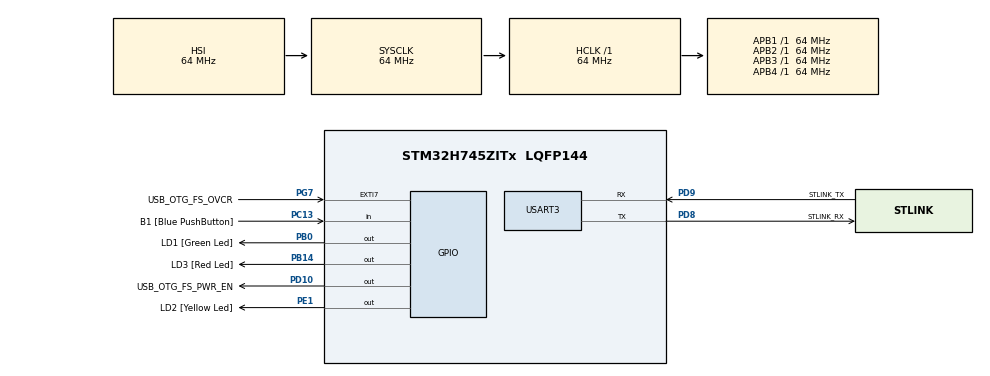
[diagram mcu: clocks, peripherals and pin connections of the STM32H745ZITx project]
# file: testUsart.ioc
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CortexM4.IPs=FATFS_M4\:I,FREERTOS_M4\:I,IWDG2\:I,RCC,WWDG2\:I,DMA,BDMA,MDMA,NVIC2\:I,ETH,DEBUG,PDM2PCM_M4\:I,PWR,RESMGR_UTILITY,SYS_M4\:I,USB_DEVICE_M4\:I,USB_HOST_M4\:I,CORTEX_M4\:I,OPENAMP_M4\:I,VREFBUF
CortexM7.IPs=FATFS_M7\:I,FREERTOS_M7\:I,IWDG1\:I,RCC\:I,WWDG1\:I,DMA\:I,BDMA\:I,MDMA\:I,NVIC1\:I,SYS\:I,USART3\:I,USB_OTG_FS\:I,ETH\:I,CORTEX_M7\:I,DEBUG\:I,PDM2PCM_M7\:I,PWR\:I,RESMGR_UTILITY\:I,USB_DEVICE_M7\:I,USB_HOST_M7\:I,OPENAMP_M7\:I,VREFBUF\:I
Mcu.Family=STM32H7
Mcu.Name=STM32H745ZITx
Mcu.Package=LQFP144
NVIC1.PriorityGroup=NVIC_PRIORITYGROUP_4
NVIC2.PriorityGroup=NVIC_PRIORITYGROUP_4
PA1.PinAttribute=CortexM7
PA1.Signal=ETH_REF_CLK
PA11.PinAttribute=CortexM7
PA11.Signal=USB_OTG_FS_DM
PA12.PinAttribute=CortexM7
PA12.Signal=USB_OTG_FS_DP
PA2.PinAttribute=CortexM7
PA2.Signal=ETH_MDIO
PA7.PinAttribute=CortexM7
PA7.Signal=ETH_CRS_DV
PA8.PinAttribute=CortexM7
PA8.Signal=USB_OTG_FS_SOF
PA9.PinAttribute=CortexM7
PA9.Signal=USB_OTG_FS_VBUS
PB0.GPIO_Label=LD1 [Green Led]
PB0.PinAttribute=Free
PB0.Signal=GPIO_Output
PB13.PinAttribute=CortexM7
PB13.Signal=ETH_TXD1
PB14.GPIO_Label=LD3 [Red Led]
PB14.PinAttribute=Free
PB14.Signal=GPIO_Output
PC1.PinAttribute=CortexM7
PC1.Signal=ETH_MDC
PC13.GPIO_Label=B1 [Blue PushButton]
PC13.PinAttribute=Free
PC13.Signal=GPIO_Input
PC14-OSC32_IN\ (OSC32_IN).PinAttribute=CortexM7
PC14-OSC32_IN\ (OSC32_IN).Signal=RCC_OSC32_IN
PC15-OSC32_OUT\ (OSC32_OUT).PinAttribute=CortexM7
PC15-OSC32_OUT\ (OSC32_OUT).Signal=RCC_OSC32_OUT
PC4.PinAttribute=CortexM7
PC4.Signal=ETH_RXD0
PC5.PinAttribute=CortexM7
PC5.Signal=ETH_RXD1
PD10.GPIO_Label=USB_OTG_FS_PWR_EN
PD10.PinAttribute=Free
PD10.Signal=GPIO_Output
PD8.GPIO_Label=STLINK_RX
PD8.Mode=Asynchronous
PD8.PinAttribute=CortexM7
PD8.Signal=USART3_TX
PD9.GPIO_Label=STLINK_TX
PD9.Mode=Asynchronous
PD9.PinAttribute=CortexM7
PD9.Signal=USART3_RX
PE1.GPIO_Label=LD2 [Yellow Led]
PE1.PinAttribute=Free
PE1.Signal=GPIO_Output
PG11.PinAttribute=CortexM7
PG11.Signal=ETH_TX_EN
PG13.PinAttribute=CortexM7
PG13.Signal=ETH_TXD0
PG7.GPIO_Label=USB_OTG_FS_OVCR
PG7.PinAttribute=Free
PG7.Signal=GPXTI7
PH0-OSC_IN\ (PH0).PinAttribute=CortexM7
PH0-OSC_IN\ (PH0).Signal=RCC_OSC_IN
PH1-OSC_OUT\ (PH1).PinAttribute=CortexM7
PH1-OSC_OUT\ (PH1).Signal=RCC_OSC_OUT
ProjectManager.HeapSize=0x200
ProjectManager.StackSize=0x400
ProjectManager.TargetToolchain=STM32CubeIDE
RCC.ADCFreq_Value=129000000
RCC.APB1Freq_Value=64000000
RCC.APB2Freq_Value=64000000
RCC.APB3Freq_Value=64000000
RCC.APB4Freq_Value=64000000
RCC.CortexFreq_Value=64000000
RCC.DIVM1=18
RCC.DIVM3=22
RCC.DIVN3=169
RCC.DIVQ3=4
RCC.HCLKFreq_Value=64000000
RCC.PLL2FRACN=0
RCC.PLL3FRACN=0
RCC.PLLFRACN=0
RCC.SYSCLKFreq_VALUE=64000000
RCC.SupplySource=PWR_DIRECT_SMPS_SUPPLY
RCC.USBCLockSelection=RCC_USBCLKSOURCE_PLL3
RCC.USBFreq_Value=122909090.9090909
USART3.VirtualMode-Asynchronous=VM_ASYNC
VP_SYS_M4_VS_Systick.Mode=SysTick
board=NUCLEO-H745ZI-Q

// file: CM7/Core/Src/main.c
/* USER CODE BEGIN Header */
/**
 ******************************************************************************
 * @file           : main.c
 * @brief          : Main program body
 ******************************************************************************
 * @attention
 *
 * <h2><center>&copy; Copyright (c) 2021 STMicroelectronics.
 * All rights reserved.</center></h2>
 *
 * This software component is licensed by ST under BSD 3-Clause license,
 * the "License"; You may not use this file except in compliance with the
 * License. You may obtain a copy of the License at:
 *                        opensource.org/licenses/BSD-3-Clause
 *
 ******************************************************************************
 */
/* USER CODE END Header */
#include "main.h"

/* USER CODE BEGIN Includes */
#include <stdio.h>
/* USER CODE END Includes */

/* USER CODE BEGIN PD */

#ifndef HSEM_ID_0
#define HSEM_ID_0 (0U) /* HW semaphore 0*/
#endif
/* USER CODE END PD */

UART_HandleTypeDef huart3;

/* USER CODE BEGIN PV */
char snprintf_buf[128];
/* USER CODE END PV */

void SystemClock_Config(void);
static void MX_GPIO_Init(void);
static void MX_USART3_UART_Init(void);

int main(void)
{
    /* USER CODE BEGIN Boot_Mode_Sequence_0 */
    int32_t timeout;
    /* USER CODE END Boot_Mode_Sequence_0 */

    /* USER CODE BEGIN Boot_Mode_Sequence_1 */
    /* Wait until CPU2 boots and enters in stop mode or timeout*/
    timeout = 0xFFFF;
    while ((__HAL_RCC_GET_FLAG(RCC_FLAG_D2CKRDY) != RESET) && (timeout-- > 0))
        ;
    if (timeout < 0) {
        Error_Handler();
    }
    /* USER CODE END Boot_Mode_Sequence_1 */
    /* MCU Configuration--------------------------------------------------------*/

    /* Reset of all peripherals, Initializes the Flash interface and the Systick. */
    HAL_Init();

    /* Configure the system clock */
    SystemClock_Config();
    /* USER CODE BEGIN Boot_Mode_Sequence_2 */
    /* When system initialization is finished, Cortex-M7 will release Cortex-M4 by means of
    HSEM notification */
    /*HW semaphore Clock enable*/
    __HAL_RCC_HSEM_CLK_ENABLE();
    /*Take HSEM */
    HAL_HSEM_FastTake(HSEM_ID_0);
    /*Release HSEM in order to notify the CPU2(CM4)*/
    HAL_HSEM_Release(HSEM_ID_0, 0);
    /* wait until CPU2 wakes up from stop mode */
    timeout = 0xFFFF;
    while ((__HAL_RCC_GET_FLAG(RCC_FLAG_D2CKRDY) == RESET) && (timeout-- > 0))
        ;
    if (timeout < 0) {
        Error_Handler();
    }
    /* USER CODE END Boot_Mode_Sequence_2 */

    /* Initialize all configured peripherals */
    MX_GPIO_Init();
    MX_USART3_UART_Init();

    /* Infinite loop */
    /* USER CODE BEGIN WHILE */
    HAL_UART_Transmit(&huart3, (uint8_t *)"Hello World !\r\n", sizeof("Hello World !\r\n") - 1, HAL_MAX_DELAY);
    uint32_t expected_tick = HAL_GetTick() + 1000;
    uint32_t sec = 0;
    uint8_t rb;
    uint32_t nbytes;
    while (1) {
        /* USER CODE END WHILE */

        /* USER CODE BEGIN 3 */
        if (HAL_OK == HAL_UART_Receive(&huart3, &rb, 1, 100)) {
            expected_tick = HAL_GetTick() + 1000;
            sec = 0;
            /*nbytes = snprintf(snprintf_buf, sizeof(snprintf_buf), "TIME RESET %c !\r\n", rb);
             HAL_UART_Transmit(&huart3, (uint8_t*)snprintf_buf, nbytes, HAL_MAX_DELAY);*/
            HAL_UART_Transmit(&huart3, (uint8_t *)"TIME RESET\r\n", sizeof("TIME RESET\r\n") - 1, HAL_MAX_DELAY);
        }
        if (HAL_GetTick() > expected_tick) {
            sec++;
            nbytes = snprintf(snprintf_buf, sizeof(snprintf_buf), "This program runs since %lu seconds ago\r\n", sec);
            HAL_UART_Transmit(&huart3, (uint8_t *)snprintf_buf, nbytes, HAL_MAX_DELAY);
            expected_tick += 1000;
        }
    }
    /* USER CODE END 3 */
}

void SystemClock_Config(void)
{
    RCC_OscInitTypeDef RCC_OscInitStruct = {0};
    RCC_ClkInitTypeDef RCC_ClkInitStruct = {0};
    RCC_PeriphCLKInitTypeDef PeriphClkInitStruct = {0};

    /** Supply configuration update enable
     */
    HAL_PWREx_ConfigSupply(PWR_DIRECT_SMPS_SUPPLY);
    /** Configure the main internal regulator output voltage
     */
    __HAL_PWR_VOLTAGESCALING_CONFIG(PWR_REGULATOR_VOLTAGE_SCALE3);

    while (!__HAL_PWR_GET_FLAG(PWR_FLAG_VOSRDY)) {
    }
    /** Initializes the RCC Oscillators according to the specified parameters
     * in the RCC_OscInitTypeDef structure.
     */
    RCC_OscInitStruct.OscillatorType = RCC_OSCILLATORTYPE_HSI;
    RCC_OscInitStruct.HSIState = RCC_HSI_DIV1;
    RCC_OscInitStruct.HSICalibrationValue = RCC_HSICALIBRATION_DEFAULT;
    RCC_OscInitStruct.PLL.PLLState = RCC_PLL_NONE;
    if (HAL_RCC_OscConfig(&RCC_OscInitStruct) != HAL_OK) {
        Error_Handler();
    }
    /** Initializes the CPU, AHB and APB buses clocks
     */
    RCC_ClkInitStruct.ClockType = RCC_CLOCKTYPE_HCLK | RCC_CLOCKTYPE_SYSCLK | RCC_CLOCKTYPE_PCLK1 |
                                  RCC_CLOCKTYPE_PCLK2 | RCC_CLOCKTYPE_D3PCLK1 | RCC_CLOCKTYPE_D1PCLK1;
    RCC_ClkInitStruct.SYSCLKSource = RCC_SYSCLKSOURCE_HSI;
    RCC_ClkInitStruct.SYSCLKDivider = RCC_SYSCLK_DIV1;
    RCC_ClkInitStruct.AHBCLKDivider = RCC_HCLK_DIV1;
    RCC_ClkInitStruct.APB3CLKDivider = RCC_APB3_DIV1;
    RCC_ClkInitStruct.APB1CLKDivider = RCC_APB1_DIV1;
    RCC_ClkInitStruct.APB2CLKDivider = RCC_APB2_DIV1;
    RCC_ClkInitStruct.APB4CLKDivider = RCC_APB4_DIV1;

    if (HAL_RCC_ClockConfig(&RCC_ClkInitStruct, FLASH_LATENCY_0) != HAL_OK) {
        Error_Handler();
    }
    PeriphClkInitStruct.PeriphClockSelection = RCC_PERIPHCLK_USART3;
    PeriphClkInitStruct.Usart234578ClockSelection = RCC_USART234578CLKSOURCE_D2PCLK1;
    if (HAL_RCCEx_PeriphCLKConfig(&PeriphClkInitStruct) != HAL_OK) {
        Error_Handler();
    }
}

static void MX_USART3_UART_Init(void)
{

    huart3.Instance = USART3;
    huart3.Init.BaudRate = 115200;
    huart3.Init.WordLength = UART_WORDLENGTH_8B;
    huart3.Init.StopBits = UART_STOPBITS_1;
    huart3.Init.Parity = UART_PARITY_NONE;
    huart3.Init.Mode = UART_MODE_TX_RX;
    huart3.Init.HwFlowCtl = UART_HWCONTROL_NONE;
    huart3.Init.OverSampling = UART_OVERSAMPLING_16;
    huart3.Init.OneBitSampling = UART_ONE_BIT_SAMPLE_DISABLE;
    huart3.Init.ClockPrescaler = UART_PRESCALER_DIV1;
    huart3.AdvancedInit.AdvFeatureInit = UART_ADVFEATURE_NO_INIT;
    if (HAL_UART_Init(&huart3) != HAL_OK) {
        Error_Handler();
    }
    if (HAL_UARTEx_SetTxFifoThreshold(&huart3, UART_TXFIFO_THRESHOLD_1_8) != HAL_OK) {
        Error_Handler();
    }
    if (HAL_UARTEx_SetRxFifoThreshold(&huart3, UART_RXFIFO_THRESHOLD_1_8) != HAL_OK) {
        Error_Handler();
    }
    if (HAL_UARTEx_DisableFifoMode(&huart3) != HAL_OK) {
        Error_Handler();
    }
}

static void MX_GPIO_Init(void)
{
    GPIO_InitTypeDef GPIO_InitStruct = {0};

    /* GPIO Ports Clock Enable */
    __HAL_RCC_GPIOC_CLK_ENABLE();
    __HAL_RCC_GPIOH_CLK_ENABLE();
    __HAL_RCC_GPIOA_CLK_ENABLE();
    __HAL_RCC_GPIOB_CLK_ENABLE();
    __HAL_RCC_GPIOD_CLK_ENABLE();
    __HAL_RCC_GPIOG_CLK_ENABLE();

    /*Configure GPIO pins : PC1 PC4 PC5 */
    GPIO_InitStruct.Pin = GPIO_PIN_1 | GPIO_PIN_4 | GPIO_PIN_5;
    GPIO_InitStruct.Mode = GPIO_MODE_AF_PP;
    GPIO_InitStruct.Pull = GPIO_NOPULL;
    GPIO_InitStruct.Speed = GPIO_SPEED_FREQ_LOW;
    GPIO_InitStruct.Alternate = GPIO_AF11_ETH;
    HAL_GPIO_Init(GPIOC, &GPIO_InitStruct);

    /*Configure GPIO pins : PA1 PA2 PA7 */
    GPIO_InitStruct.Pin = GPIO_PIN_1 | GPIO_PIN_2 | GPIO_PIN_7;
    GPIO_InitStruct.Mode = GPIO_MODE_AF_PP;
    GPIO_InitStruct.Pull = GPIO_NOPULL;
    GPIO_InitStruct.Speed = GPIO_SPEED_FREQ_LOW;
    GPIO_InitStruct.Alternate = GPIO_AF11_ETH;
    HAL_GPIO_Init(GPIOA, &GPIO_InitStruct);

    /*Configure GPIO pin : PB13 */
    GPIO_InitStruct.Pin = GPIO_PIN_13;
    GPIO_InitStruct.Mode = GPIO_MODE_AF_PP;
    GPIO_InitStruct.Pull = GPIO_NOPULL;
    GPIO_InitStruct.Speed = GPIO_SPEED_FREQ_LOW;
    GPIO_InitStruct.Alternate = GPIO_AF11_ETH;
    HAL_GPIO_Init(GPIOB, &GPIO_InitStruct);

    /*Configure GPIO pins : PA8 PA11 PA12 */
    GPIO_InitStruct.Pin = GPIO_PIN_8 | GPIO_PIN_11 | GPIO_PIN_12;
    GPIO_InitStruct.Mode = GPIO_MODE_AF_PP;
    GPIO_InitStruct.Pull = GPIO_NOPULL;
    GPIO_InitStruct.Speed = GPIO_SPEED_FREQ_LOW;
    GPIO_InitStruct.Alternate = GPIO_AF10_OTG1_FS;
    HAL_GPIO_Init(GPIOA, &GPIO_InitStruct);

    /*Configure GPIO pins : PG11 PG13 */
    GPIO_InitStruct.Pin = GPIO_PIN_11 | GPIO_PIN_13;
    GPIO_InitStruct.Mode = GPIO_MODE_AF_PP;
    GPIO_InitStruct.Pull = GPIO_NOPULL;
    GPIO_InitStruct.Speed = GPIO_SPEED_FREQ_LOW;
    GPIO_InitStruct.Alternate = GPIO_AF11_ETH;
    HAL_GPIO_Init(GPIOG, &GPIO_InitStruct);
}

void Error_Handler(void)
{
    __disable_irq();
    while (1) {
    }
}

/************************ (C) COPYRIGHT STMicroelectronics *****END OF FILE****/
